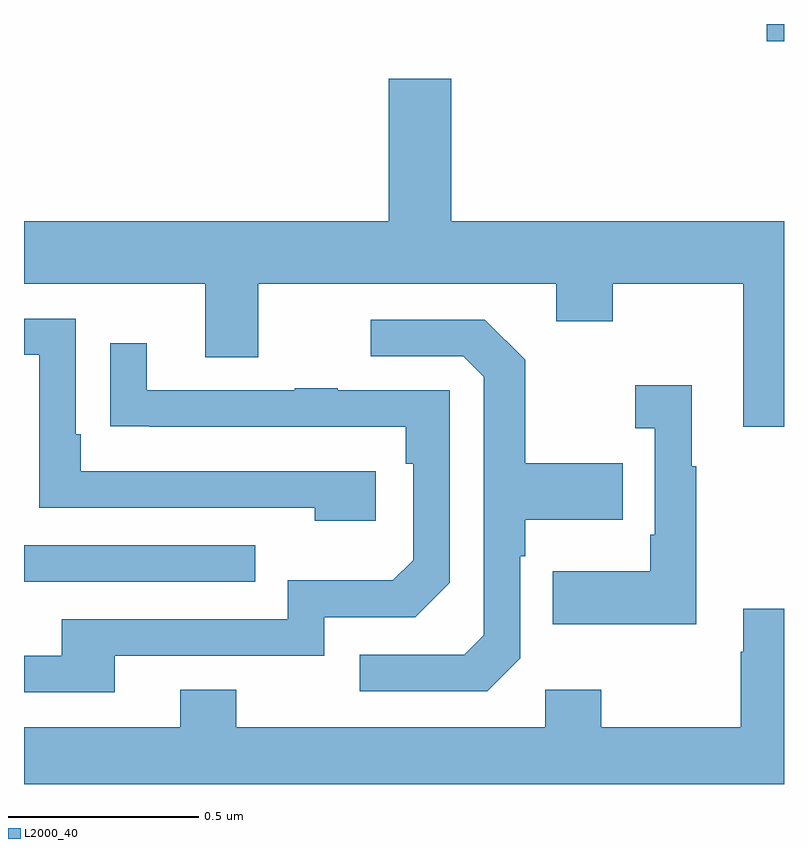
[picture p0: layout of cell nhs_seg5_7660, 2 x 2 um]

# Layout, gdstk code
import gdstk
lib = gdstk.Library(unit=1e-6, precision=1e-09)
def R(c, l, rs):  # rectangles x0, y0, x1, y1
    for r in rs: c.add(gdstk.rectangle(r[:2], r[2:], *l))
def P(c, l, *ps):  # polygons
    for p in ps: c.add(gdstk.Polygon(p, *l))
L2000_40 = (2000, 40)

nhs_seg5_7660 = lib.new_cell('nhs_seg5_7660')
R(nhs_seg5_7660, L2000_40, [(212,833.331,212.609,833.427), (213.954,834.754,214,834.799)])
P(nhs_seg5_7660, L2000_40, [(214,834.28),(213.124,834.28),(213.124,834.655),(212.96,834.655),(212.96,834.28),(212,834.28),(212,834.116),(212.477,834.116),(212.477,833.922),(212.617,833.922),(212.617,834.116),(213.401,834.116),(213.401,834.017),(213.549,834.017),(213.549,834.116),(213.893,834.116),(213.893,833.739),(214,833.739)],
  [(212.926,833.622),(212.149,833.622),(212.149,833.719),(212.136,833.719),(212.136,834.024),(212,834.024),(212,833.928),(212.04,833.928),(212.04,833.526),(212.765,833.526),(212.765,833.492),(212.926,833.492)],
  [(213.306,833.13),(213.306,833.399),(213.319,833.399),(213.319,833.495),(213.575,833.495),(213.575,833.643),(213.319,833.643),(213.319,833.915),(213.213,834.021),(212.913,834.021),(212.913,833.925),(213.156,833.925),(213.21,833.871),(213.21,833.19),(213.159,833.139),(212.883,833.139),(212.883,833.043),(213.219,833.043)],
  [(212.239,833.136),(212.79,833.136),(212.79,833.238),(213.03,833.238),(213.12,833.328),(213.12,833.835),(212.825,833.835),(212.825,833.84),(212.713,833.84),(212.713,833.835),(212.323,833.835),(212.323,833.959),(212.227,833.959),(212.227,833.74),(212.329,833.74),(212.329,833.739),(213.004,833.739),(213.004,833.642),(213.024,833.642),(213.024,833.388),(212.971,833.335),(212.694,833.335),(212.694,833.232),(212.099,833.232),(212.099,833.136),(212,833.136),(212,833.04),(212.239,833.04)],
  [(213.769,833.635),(213.757,833.635),(213.757,833.848),(213.609,833.848),(213.609,833.735),(213.66,833.735),(213.66,833.455),(213.648,833.455),(213.648,833.359),(213.391,833.359),(213.391,833.219),(213.769,833.219)],
  [(214,833.26),(213.893,833.26),(213.893,833.147),(213.886,833.147),(213.886,832.948),(213.519,832.948),(213.519,833.047),(213.372,833.047),(213.372,832.948),(212.559,832.948),(212.559,833.047),(212.411,833.047),(212.411,832.948),(212,832.948),(212,832.799),(214,832.799)])

lib.write_gds('nhs_seg5_7660.gds')
